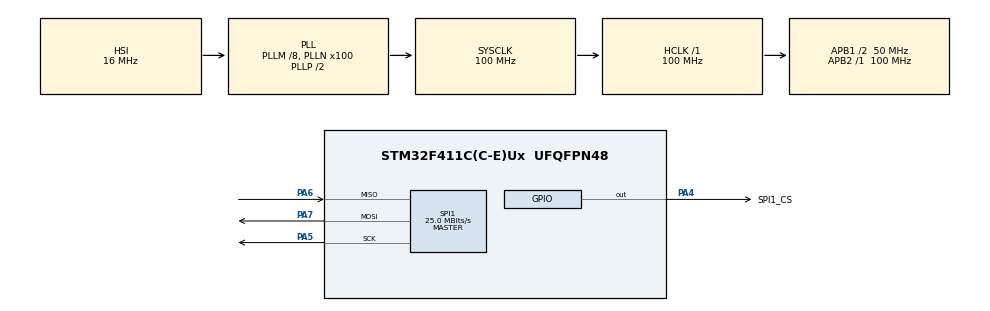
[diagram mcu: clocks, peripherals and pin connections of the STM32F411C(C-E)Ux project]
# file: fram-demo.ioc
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Mcu.Family=STM32F4
Mcu.Name=STM32F411C(C-E)Ux
Mcu.Package=UFQFPN48
NVIC.PriorityGroup=NVIC_PRIORITYGROUP_4
PA13.Mode=Serial_Wire
PA13.Signal=SYS_JTMS-SWDIO
PA14.Mode=Serial_Wire
PA14.Signal=SYS_JTCK-SWCLK
PA4.GPIO_Label=SPI1_CS
PA4.GPIO_Speed=GPIO_SPEED_FREQ_VERY_HIGH
PA4.Signal=GPIO_Output
PA5.Mode=Full_Duplex_Master
PA5.Signal=SPI1_SCK
PA6.Mode=Full_Duplex_Master
PA6.Signal=SPI1_MISO
PA7.Mode=Full_Duplex_Master
PA7.Signal=SPI1_MOSI
PH0\ -\ OSC_IN.Mode=HSE-External-Oscillator
PH0\ -\ OSC_IN.Signal=RCC_OSC_IN
PH1\ -\ OSC_OUT.Mode=HSE-External-Oscillator
PH1\ -\ OSC_OUT.Signal=RCC_OSC_OUT
ProjectManager.HeapSize=0x200
ProjectManager.StackSize=0x400
ProjectManager.TargetToolchain=CMake
RCC.48MHZClocksFreq_Value=50000000
RCC.AHBFreq_Value=100000000
RCC.APB1CLKDivider=RCC_HCLK_DIV2
RCC.APB1Freq_Value=50000000
RCC.APB1TimFreq_Value=100000000
RCC.APB2Freq_Value=100000000
RCC.APB2TimFreq_Value=100000000
RCC.CortexFreq_Value=100000000
RCC.HCLKFreq_Value=100000000
RCC.HSE_VALUE=25000000
RCC.HSI_VALUE=16000000
RCC.LSE_VALUE=32768
RCC.PLLM=8
RCC.PLLN=100
RCC.SYSCLKFreq_VALUE=100000000
RCC.SYSCLKSource=RCC_SYSCLKSOURCE_PLLCLK
RCC.VCOOutputFreq_Value=200000000
SPI1.BaudRatePrescaler=SPI_BAUDRATEPRESCALER_4
SPI1.CalculateBaudRate=25.0 MBits/s
SPI1.Direction=SPI_DIRECTION_2LINES
SPI1.Mode=SPI_MODE_MASTER
SPI1.VirtualType=VM_MASTER
board=custom

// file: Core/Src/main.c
/* USER CODE BEGIN Header */
/**
  ******************************************************************************
  * @file           : main.c
  * @brief          : Main program body
  ******************************************************************************
  * @attention
  *
  * Copyright (c) 2025 STMicroelectronics.
  * All rights reserved.
  *
  * This software is licensed under terms that can be found in the LICENSE file
  * in the root directory of this software component.
  * If no LICENSE file comes with this software, it is provided AS-IS.
  *
  ******************************************************************************
  */
/* USER CODE END Header */
#include "main.h"

/* USER CODE BEGIN Includes */
#include "port_stm32.h"
#include "fram.h"
/* USER CODE END Includes */

SPI_HandleTypeDef hspi1;

void SystemClock_Config(void);
static void MX_GPIO_Init(void);
static void MX_SPI1_Init(void);

int main(void)
{

  /* MCU Configuration--------------------------------------------------------*/

  /* Reset of all peripherals, Initializes the Flash interface and the Systick. */
  HAL_Init();

  /* Configure the system clock */
  SystemClock_Config();

  /* Initialize all configured peripherals */
  MX_GPIO_Init();
  MX_SPI1_Init();
  /* USER CODE BEGIN 2 */

  // Initialize FRAM instance
  PortContext_TypeDef port_context;
  port_context.cs_pin = GPIO_PIN_4;
  port_context.cs_port = GPIOA;
  port_context.hspi = &hspi1;

  FRAM_Instance_TypeDef fram;
  fram.context = &port_context;
  fram.spi_chip_select = spi_chip_select;
  fram.spi_chip_deselect = spi_chip_deselect;
  fram.spi_write = spi_write;
  fram.spi_read = spi_read;

  // Test variables
  FRAM_Status_TypeDef status;
  uint8_t test_passed = 0;
  uint8_t test_failed = 0;

  // ===== TEST 1: Read Status Register =====
  uint8_t status_reg = 0;
  status = FRAM_ReadStatusReg(&fram, status_reg);
  if (status == FRAM_STATUS_SUCCESS) {
    test_passed++;
  } else {
    test_failed++;
  }

  // ===== TEST 2: Single Byte Write/Read at Address 0x0000 =====
  uint8_t write_byte = 0xAA;
  uint8_t read_byte = 0x00;

  status = FRAM_Write(&fram, 0x0000, &write_byte, 1);
  if (status != FRAM_STATUS_SUCCESS) test_failed++;

  status = FRAM_Read(&fram, 0x0000, &read_byte, 1);
  if (status == FRAM_STATUS_SUCCESS && read_byte == write_byte) {
    test_passed++;
  } else {
    test_failed++;
  }

  // ===== TEST 3: Multi-byte Write/Read at Address 0x0000 =====
  uint8_t write_data[] = "Hello FRAM!";
  uint8_t read_data[32] = {0};

  status = FRAM_Write(&fram, 0x0000, write_data, sizeof(write_data));
  if (status != FRAM_STATUS_SUCCESS) test_failed++;

  status = FRAM_Read(&fram, 0x0000, read_data, sizeof(write_data));
  if (status == FRAM_STATUS_SUCCESS) {
    uint8_t match = 1;
    for (uint8_t i = 0; i < sizeof(write_data); i++) {
      if (read_data[i] != write_data[i]) {
        match = 0;
        break;
      }
    }
    if (match) {
      test_passed++;
    } else {
      test_failed++;
    }
  } else {
    test_failed++;
  }

  // ===== TEST 4: Write/Read at Different Address (0x0100) =====
  uint8_t test4_write[] = "Address 0x0100";
  uint8_t test4_read[32] = {0};

  status = FRAM_Write(&fram, 0x0100, test4_write, sizeof(test4_write));
  if (status != FRAM_STATUS_SUCCESS) test_failed++;

  status = FRAM_Read(&fram, 0x0100, test4_read, sizeof(test4_write));
  if (status == FRAM_STATUS_SUCCESS) {
    uint8_t match = 1;
    for (uint8_t i = 0; i < sizeof(test4_write); i++) {
      if (test4_read[i] != test4_write[i]) {
        match = 0;
        break;
      }
    }
    if (match) {
      test_passed++;
    } else {
      test_failed++;
    }
  } else {
    test_failed++;
  }

  // ===== TEST 5: Write/Read at Higher Address (0x1234) =====
  uint8_t test5_write[] = {0x11, 0x22, 0x33, 0x44, 0x55, 0x66, 0x77, 0x88};
  uint8_t test5_read[8] = {0};

  status = FRAM_Write(&fram, 0x1234, test5_write, sizeof(test5_write));
  if (status != FRAM_STATUS_SUCCESS) test_failed++;

  status = FRAM_Read(&fram, 0x1234, test5_read, sizeof(test5_write));
  if (status == FRAM_STATUS_SUCCESS) {
    uint8_t match = 1;
    for (uint8_t i = 0; i < sizeof(test5_write); i++) {
      if (test5_read[i] != test5_write[i]) {
        match = 0;
        break;
      }
    }
    if (match) {
      test_passed++;
    } else {
      test_failed++;
    }
  } else {
    test_failed++;
  }

  // ===== TEST 6: Verify Previous Data at 0x0000 Still Intact =====
  uint8_t verify_data[32] = {0};
  status = FRAM_Read(&fram, 0x0000, verify_data, sizeof(write_data));
  if (status == FRAM_STATUS_SUCCESS) {
    uint8_t match = 1;
    for (uint8_t i = 0; i < sizeof(write_data); i++) {
      if (verify_data[i] != write_data[i]) {
        match = 0;
        break;
      }
    }
    if (match) {
      test_passed++;
    } else {
      test_failed++;
    }
  } else {
    test_failed++;
  }

  // ===== TEST 7: Write/Read at End of 64KB Range (0xFFF0) =====
  uint8_t test7_write[] = "END_TEST";
  uint8_t test7_read[16] = {0};

  status = FRAM_Write(&fram, 0xFFF0, test7_write, sizeof(test7_write));
  if (status != FRAM_STATUS_SUCCESS) test_failed++;

  status = FRAM_Read(&fram, 0xFFF0, test7_read, sizeof(test7_write));
  if (status == FRAM_STATUS_SUCCESS) {
    uint8_t match = 1;
    for (uint8_t i = 0; i < sizeof(test7_write); i++) {
      if (test7_read[i] != test7_write[i]) {
        match = 0;
        break;
      }
    }
    if (match) {
      test_passed++;
    } else {
      test_failed++;
    }
  } else {
    test_failed++;
  }

  // ===== TEST 8: Pattern Test - Alternating 0x55/0xAA =====
  uint8_t pattern_write[16];
  uint8_t pattern_read[16] = {0};
  for (uint8_t i = 0; i < 16; i++) {
    pattern_write[i] = (i % 2) ? 0xAA : 0x55;
  }

  status = FRAM_Write(&fram, 0x0500, pattern_write, sizeof(pattern_write));
  if (status != FRAM_STATUS_SUCCESS) test_failed++;

  status = FRAM_Read(&fram, 0x0500, pattern_read, sizeof(pattern_write));
  if (status == FRAM_STATUS_SUCCESS) {
    uint8_t match = 1;
    for (uint8_t i = 0; i < sizeof(pattern_write); i++) {
      if (pattern_read[i] != pattern_write[i]) {
        match = 0;
        break;
      }
    }
    if (match) {
      test_passed++;
    } else {
      test_failed++;
    }
  } else {
    test_failed++;
  }

  // ===== ALL TESTS COMPLETE =====
  // Set breakpoint here to inspect test_passed and test_failed
  // Expected: test_passed = 8, test_failed = 0

  if (test_failed > 0) {
    Error_Handler();
  }

  // Blink LED to indicate success (toggle PA5 or your LED pin)
  while(1) {
    HAL_GPIO_TogglePin(GPIOA, GPIO_PIN_5);
    HAL_Delay(test_passed * 100); // Blink rate indicates number of passed tests
  }

  /* USER CODE END 2 */

  /* Infinite loop */
  while (1)
  {

  }
}

void SystemClock_Config(void)
{
  RCC_OscInitTypeDef RCC_OscInitStruct = {0};
  RCC_ClkInitTypeDef RCC_ClkInitStruct = {0};

  /** Configure the main internal regulator output voltage
  */
  __HAL_RCC_PWR_CLK_ENABLE();
  __HAL_PWR_VOLTAGESCALING_CONFIG(PWR_REGULATOR_VOLTAGE_SCALE1);

  /** Initializes the RCC Oscillators according to the specified parameters
  * in the RCC_OscInitTypeDef structure.
  */
  RCC_OscInitStruct.OscillatorType = RCC_OSCILLATORTYPE_HSI;
  RCC_OscInitStruct.HSIState = RCC_HSI_ON;
  RCC_OscInitStruct.HSICalibrationValue = RCC_HSICALIBRATION_DEFAULT;
  RCC_OscInitStruct.PLL.PLLState = RCC_PLL_ON;
  RCC_OscInitStruct.PLL.PLLSource = RCC_PLLSOURCE_HSI;
  RCC_OscInitStruct.PLL.PLLM = 8;
  RCC_OscInitStruct.PLL.PLLN = 100;
  RCC_OscInitStruct.PLL.PLLP = RCC_PLLP_DIV2;
  RCC_OscInitStruct.PLL.PLLQ = 4;
  if (HAL_RCC_OscConfig(&RCC_OscInitStruct) != HAL_OK)
  {
    Error_Handler();
  }

  /** Initializes the CPU, AHB and APB buses clocks
  */
  RCC_ClkInitStruct.ClockType = RCC_CLOCKTYPE_HCLK|RCC_CLOCKTYPE_SYSCLK
                              |RCC_CLOCKTYPE_PCLK1|RCC_CLOCKTYPE_PCLK2;
  RCC_ClkInitStruct.SYSCLKSource = RCC_SYSCLKSOURCE_PLLCLK;
  RCC_ClkInitStruct.AHBCLKDivider = RCC_SYSCLK_DIV1;
  RCC_ClkInitStruct.APB1CLKDivider = RCC_HCLK_DIV2;
  RCC_ClkInitStruct.APB2CLKDivider = RCC_HCLK_DIV1;

  if (HAL_RCC_ClockConfig(&RCC_ClkInitStruct, FLASH_LATENCY_3) != HAL_OK)
  {
    Error_Handler();
  }
}

static void MX_SPI1_Init(void)
{

  /* SPI1 parameter configuration*/
  hspi1.Instance = SPI1;
  hspi1.Init.Mode = SPI_MODE_MASTER;
  hspi1.Init.Direction = SPI_DIRECTION_2LINES;
  hspi1.Init.DataSize = SPI_DATASIZE_8BIT;
  hspi1.Init.CLKPolarity = SPI_POLARITY_LOW;
  hspi1.Init.CLKPhase = SPI_PHASE_1EDGE;
  hspi1.Init.NSS = SPI_NSS_SOFT;
  hspi1.Init.BaudRatePrescaler = SPI_BAUDRATEPRESCALER_8;
  hspi1.Init.FirstBit = SPI_FIRSTBIT_MSB;
  hspi1.Init.TIMode = SPI_TIMODE_DISABLE;
  hspi1.Init.CRCCalculation = SPI_CRCCALCULATION_DISABLE;
  hspi1.Init.CRCPolynomial = 10;
  if (HAL_SPI_Init(&hspi1) != HAL_OK)
  {
    Error_Handler();
  }

}

static void MX_GPIO_Init(void)
{
  GPIO_InitTypeDef GPIO_InitStruct = {0};

  /* GPIO Ports Clock Enable */
  __HAL_RCC_GPIOH_CLK_ENABLE();
  __HAL_RCC_GPIOA_CLK_ENABLE();

  /*Configure GPIO pin Output Level */
  HAL_GPIO_WritePin(SPI1_CS_GPIO_Port, SPI1_CS_Pin, GPIO_PIN_RESET);

  /*Configure GPIO pin : SPI1_CS_Pin */
  GPIO_InitStruct.Pin = SPI1_CS_Pin;
  GPIO_InitStruct.Mode = GPIO_MODE_OUTPUT_PP;
  GPIO_InitStruct.Pull = GPIO_PULLUP;
  GPIO_InitStruct.Speed = GPIO_SPEED_FREQ_VERY_HIGH;
  HAL_GPIO_Init(SPI1_CS_GPIO_Port, &GPIO_InitStruct);

}

void Error_Handler(void)
{
  __disable_irq();
  while (1)
  {
  }
}
